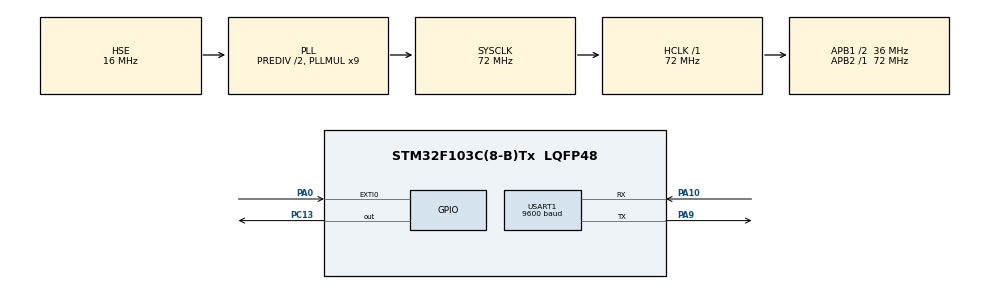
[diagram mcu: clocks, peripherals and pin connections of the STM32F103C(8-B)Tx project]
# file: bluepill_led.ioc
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Mcu.Family=STM32F1
Mcu.Name=STM32F103C(8-B)Tx
Mcu.Package=LQFP48
NVIC.PriorityGroup=NVIC_PRIORITYGROUP_4
PA0-WKUP.GPIO_ModeDefaultEXTI=GPIO_MODE_EVT_RISING
PA0-WKUP.GPIO_PuPd=GPIO_PULLUP
PA0-WKUP.Signal=GPXTI0
PA10.Mode=Asynchronous
PA10.Signal=USART1_RX
PA9.Mode=Asynchronous
PA9.Signal=USART1_TX
PC13-TAMPER-RTC.GPIO_ModeDefaultOutputPP=GPIO_MODE_OUTPUT_OD
PC13-TAMPER-RTC.GPIO_PuPd=GPIO_NOPULL
PC13-TAMPER-RTC.PinState=GPIO_PIN_SET
PC13-TAMPER-RTC.Signal=GPIO_Output
PD0-OSC_IN.Mode=HSE-External-Oscillator
PD0-OSC_IN.Signal=RCC_OSC_IN
PD1-OSC_OUT.Mode=HSE-External-Oscillator
PD1-OSC_OUT.Signal=RCC_OSC_OUT
ProjectManager.HeapSize=0x200
ProjectManager.StackSize=0x400
ProjectManager.TargetToolchain=STM32CubeIDE
RCC.AHBFreq_Value=72000000
RCC.APB1CLKDivider=RCC_HCLK_DIV2
RCC.APB1Freq_Value=36000000
RCC.APB1TimFreq_Value=72000000
RCC.APB2Freq_Value=72000000
RCC.APB2TimFreq_Value=72000000
RCC.HCLKFreq_Value=72000000
RCC.HSEDivPLL=RCC_HSE_PREDIV_DIV2
RCC.HSE_VALUE=16000000
RCC.PLLMUL=RCC_PLL_MUL9
RCC.PLLSourceVirtual=RCC_PLLSOURCE_HSE
RCC.SYSCLKFreq_VALUE=72000000
RCC.SYSCLKSource=RCC_SYSCLKSOURCE_PLLCLK
RCC.USBFreq_Value=72000000
USART1.BaudRate=9600
USART1.VirtualMode=VM_ASYNC
VP_SYS_VS_ND.Mode=No_Debug
VP_TIM1_VS_ClockSourceINT.Mode=Internal
board=custom

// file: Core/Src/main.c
/* USER CODE BEGIN Header */
/**
  ******************************************************************************
  * @file           : main.c
  * @brief          : Main program body
  ******************************************************************************
  * @attention
  *
  * Copyright (c) 2026 STMicroelectronics.
  * All rights reserved.
  *
  * This software is licensed under terms that can be found in the LICENSE file
  * in the root directory of this software component.
  * If no LICENSE file comes with this software, it is provided AS-IS.
  *
  ******************************************************************************
  */
/* USER CODE END Header */
#include "main.h"

/* USER CODE BEGIN Includes */
#include <stdio.h>
#include<string.h>

/* USER CODE END Includes */

TIM_HandleTypeDef htim1;

UART_HandleTypeDef huart1;

void SystemClock_Config(void);
static void MX_GPIO_Init(void);
static void MX_USART1_UART_Init(void);
static void MX_TIM1_Init(void);

/* USER CODE BEGIN 0 */
// Send printf to uart1
int _write(int fd, char* ptr, int len) {
  HAL_StatusTypeDef hstatus;

  if (fd == 1 || fd == 2) {
    hstatus = HAL_UART_Transmit(&huart1, (uint8_t *) ptr, len, HAL_MAX_DELAY);
    if (hstatus == HAL_OK)
      return len;
    else
      return -1;
  }
  return -1;
}

/* USER CODE END 0 */

int main(void)
{

  /* MCU Configuration--------------------------------------------------------*/

  /* Reset of all peripherals, Initializes the Flash interface and the Systick. */
  HAL_Init();

  /* Configure the system clock */
  SystemClock_Config();

  /* Initialize all configured peripherals */
  MX_GPIO_Init();
  MX_USART1_UART_Init();
  MX_TIM1_Init();
  /* USER CODE BEGIN 2 */
  //printf("hellow");
  /* USER CODE END 2 */

  /* Infinite loop */
  /* USER CODE BEGIN WHILE */
  char msg= "Hello from STM32\n";
  uint32_t now=0,last_blink=0;
  while (1)
  {
    /* USER CODE END WHILE */

    /* USER CODE BEGIN 3 */
	  now=HAL_GetTick();
	  if(now-last_blink >= 1000){
		  HAL_GPIO_TogglePin(GPIOC, GPIO_PIN_13);
		  last_blink=now;
		  //printf("hi");
		  HAL_UART_Transmit(&huart1,msg,strlen(msg),HAL_MAX_DELAY);
	  }

  }
  /* USER CODE END 3 */
}

void SystemClock_Config(void)
{
  RCC_OscInitTypeDef RCC_OscInitStruct = {0};
  RCC_ClkInitTypeDef RCC_ClkInitStruct = {0};

  /** Initializes the RCC Oscillators according to the specified parameters
  * in the RCC_OscInitTypeDef structure.
  */
  RCC_OscInitStruct.OscillatorType = RCC_OSCILLATORTYPE_HSE;
  RCC_OscInitStruct.HSEState = RCC_HSE_ON;
  RCC_OscInitStruct.HSEPredivValue = RCC_HSE_PREDIV_DIV2;
  RCC_OscInitStruct.HSIState = RCC_HSI_ON;
  RCC_OscInitStruct.PLL.PLLState = RCC_PLL_ON;
  RCC_OscInitStruct.PLL.PLLSource = RCC_PLLSOURCE_HSE;
  RCC_OscInitStruct.PLL.PLLMUL = RCC_PLL_MUL9;
  if (HAL_RCC_OscConfig(&RCC_OscInitStruct) != HAL_OK)
  {
    Error_Handler();
  }

  /** Initializes the CPU, AHB and APB buses clocks
  */
  RCC_ClkInitStruct.ClockType = RCC_CLOCKTYPE_HCLK|RCC_CLOCKTYPE_SYSCLK
                              |RCC_CLOCKTYPE_PCLK1|RCC_CLOCKTYPE_PCLK2;
  RCC_ClkInitStruct.SYSCLKSource = RCC_SYSCLKSOURCE_PLLCLK;
  RCC_ClkInitStruct.AHBCLKDivider = RCC_SYSCLK_DIV1;
  RCC_ClkInitStruct.APB1CLKDivider = RCC_HCLK_DIV2;
  RCC_ClkInitStruct.APB2CLKDivider = RCC_HCLK_DIV1;

  if (HAL_RCC_ClockConfig(&RCC_ClkInitStruct, FLASH_LATENCY_2) != HAL_OK)
  {
    Error_Handler();
  }
}

static void MX_TIM1_Init(void)
{

  TIM_ClockConfigTypeDef sClockSourceConfig = {0};
  TIM_MasterConfigTypeDef sMasterConfig = {0};

  htim1.Instance = TIM1;
  htim1.Init.Prescaler = 0;
  htim1.Init.CounterMode = TIM_COUNTERMODE_UP;
  htim1.Init.Period = 65535;
  htim1.Init.ClockDivision = TIM_CLOCKDIVISION_DIV1;
  htim1.Init.RepetitionCounter = 0;
  htim1.Init.AutoReloadPreload = TIM_AUTORELOAD_PRELOAD_DISABLE;
  if (HAL_TIM_Base_Init(&htim1) != HAL_OK)
  {
    Error_Handler();
  }
  sClockSourceConfig.ClockSource = TIM_CLOCKSOURCE_INTERNAL;
  if (HAL_TIM_ConfigClockSource(&htim1, &sClockSourceConfig) != HAL_OK)
  {
    Error_Handler();
  }
  sMasterConfig.MasterOutputTrigger = TIM_TRGO_RESET;
  sMasterConfig.MasterSlaveMode = TIM_MASTERSLAVEMODE_DISABLE;
  if (HAL_TIMEx_MasterConfigSynchronization(&htim1, &sMasterConfig) != HAL_OK)
  {
    Error_Handler();
  }

}

static void MX_USART1_UART_Init(void)
{

  huart1.Instance = USART1;
  huart1.Init.BaudRate = 9600;
  huart1.Init.WordLength = UART_WORDLENGTH_8B;
  huart1.Init.StopBits = UART_STOPBITS_1;
  huart1.Init.Parity = UART_PARITY_NONE;
  huart1.Init.Mode = UART_MODE_TX_RX;
  huart1.Init.HwFlowCtl = UART_HWCONTROL_NONE;
  huart1.Init.OverSampling = UART_OVERSAMPLING_16;
  if (HAL_UART_Init(&huart1) != HAL_OK)
  {
    Error_Handler();
  }

}

static void MX_GPIO_Init(void)
{
  GPIO_InitTypeDef GPIO_InitStruct = {0};

  /* GPIO Ports Clock Enable */
  __HAL_RCC_GPIOC_CLK_ENABLE();
  __HAL_RCC_GPIOD_CLK_ENABLE();
  __HAL_RCC_GPIOA_CLK_ENABLE();

  /*Configure GPIO pin Output Level */
  HAL_GPIO_WritePin(GPIOC, GPIO_PIN_13, GPIO_PIN_SET);

  /*Configure GPIO pin : PC13 */
  GPIO_InitStruct.Pin = GPIO_PIN_13;
  GPIO_InitStruct.Mode = GPIO_MODE_OUTPUT_OD;
  GPIO_InitStruct.Pull = GPIO_NOPULL;
  GPIO_InitStruct.Speed = GPIO_SPEED_FREQ_LOW;
  HAL_GPIO_Init(GPIOC, &GPIO_InitStruct);

  /*Configure GPIO pin : PA0 */
  GPIO_InitStruct.Pin = GPIO_PIN_0;
  GPIO_InitStruct.Mode = GPIO_MODE_EVT_RISING;
  GPIO_InitStruct.Pull = GPIO_PULLUP;
  HAL_GPIO_Init(GPIOA, &GPIO_InitStruct);

}

void Error_Handler(void)
{
  __disable_irq();
  while (1)
  {
  }
}
